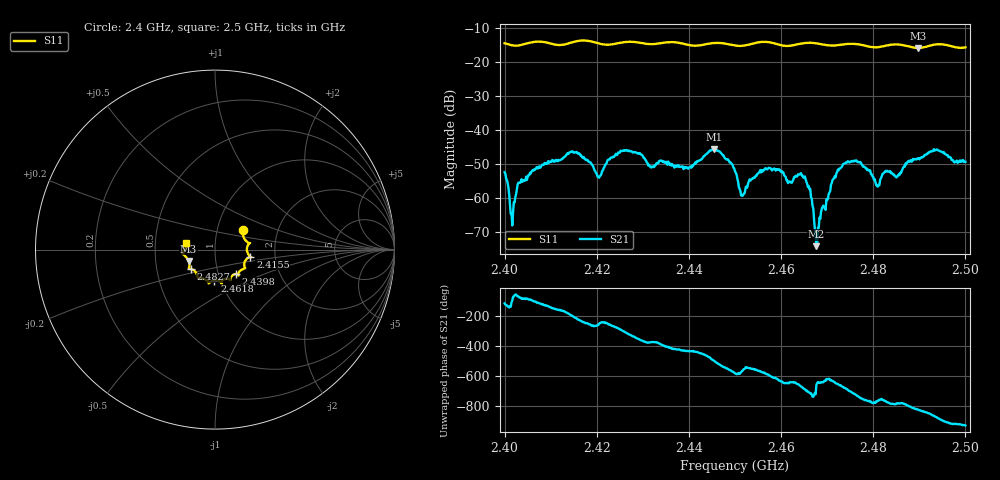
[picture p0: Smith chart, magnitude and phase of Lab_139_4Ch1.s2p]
# Hz S RI R 50
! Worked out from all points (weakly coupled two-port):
!   601 points, 2.4 GHz to 2.5 GHz, reference 50 ohm
!   highest |S21| = -45.51 dB at 2.4455 GHz (marker M1); lowest = -74.1 dB at 2.4677 GHz (marker M2)
!   lowest |S11| = -15.9 dB at 2.4897 GHz (marker M3), VSWR 1.38, Z = 36.9 - j4.85 ohm
!   |S11| at or under -10 dB: start of sweep to end of sweep
!   S12 and S22 are empty: the file has one direction only
!   S11 on the Smith chart (normalised r, x): 2.4 GHz: 1.33, +0.29; 2.4155 GHz: 1.49, -0.12; 2.4398 GHz: 1.21, -0.34; 2.4618 GHz: 0.94, -0.33; 2.4827 GHz: 0.75, -0.17; 2.5 GHz: 0.72, +0.06
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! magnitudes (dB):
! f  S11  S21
! 2.4 GHz  -14.5  -52.4
! 2.4017 GHz  -15.1  -68.0
! 2.4033 GHz  -15.1  -55.5
! 2.4155 GHz  -13.9  -46.5
! 2.4167 GHz  -13.7  -47.5
! 2.4205 GHz  -14.6  -54.0
! 2.4257 GHz  -14.2  -46.0
! 2.4333 GHz  -14.6  -49.8
! 2.4398 GHz  -15.0  -51.4
! 2.4455 GHz  -14.4  -45.5
! 2.45 GHz  -15.1  -52.1
! 2.4517 GHz  -15.2  -59.3
! 2.457 GHz  -14.1  -51.6
! 2.4618 GHz  -15.3  -55.1
! 2.4647 GHz  -14.5  -53.4
! 2.4667 GHz  -14.4  -60.1
! 2.4677 GHz  -14.5  -74.1
! 2.4737 GHz  -14.8  -49.8
! 2.4827 GHz  -15.2  -52.0
! 2.4833 GHz  -15.1  -52.2
! 2.4897 GHz  -15.9  -48.3
! 2.5 GHz  -15.7  -49.3
